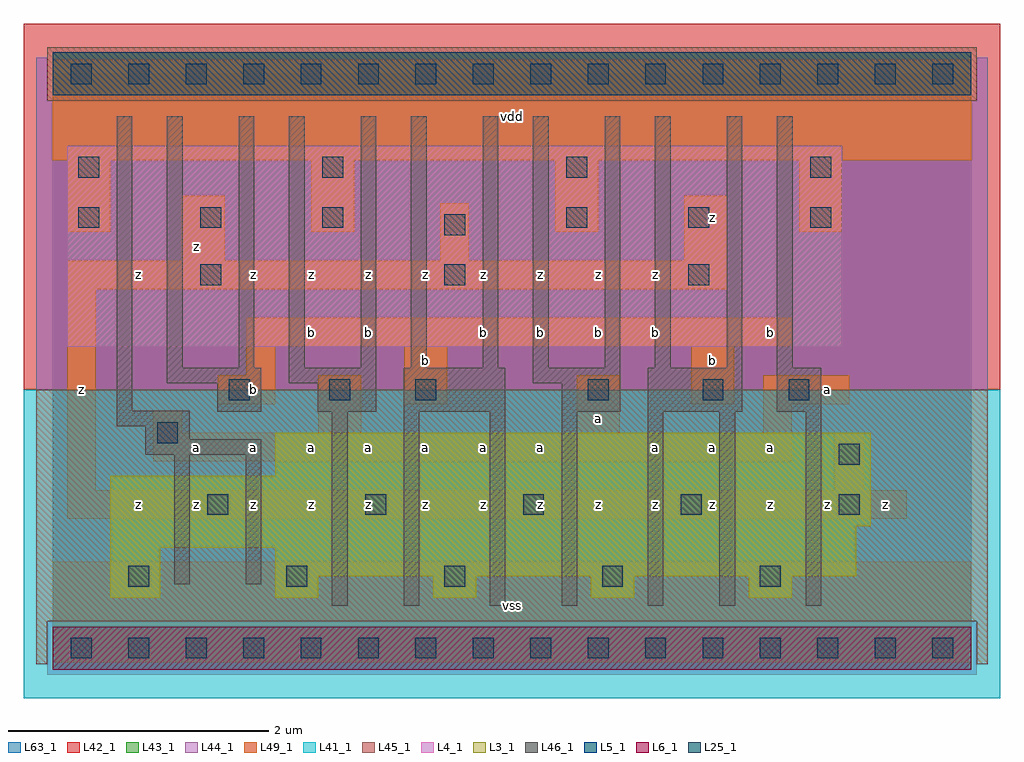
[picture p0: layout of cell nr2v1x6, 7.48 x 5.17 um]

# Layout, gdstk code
import gdstk
lib = gdstk.Library(unit=1e-6, precision=1e-09)
def R(c, l, rs):  # rectangles x0, y0, x1, y1
    for r in rs: c.add(gdstk.rectangle(r[:2], r[2:], *l))
def A(c, l, x, y, w, h, nx, ny, dx, dy):  # array of equal rectangles
    R(c, l, [(x+i*dx, y+j*dy, x+i*dx+w, y+j*dy+h) for i in range(nx) for j in range(ny)])
L3_1 = (3, 1)
L4_1 = (4, 1)
L5_1 = (5, 1)
L6_1 = (6, 1)
L25_1 = (25, 1)
L41_1 = (41, 1)
L42_1 = (42, 1)
L43_1 = (43, 1)
L44_1 = (44, 1)
L45_1 = (45, 1)
L46_1 = (46, 1)
L49_1 = (49, 1)
L63_1 = (63, 1)

nr2v1x6 = lib.new_cell('nr2v1x6')
A(nr2v1x6, L3_1, 1.705, 0.385, 0.33, 0.165, 4, 1, 1.21, 0)
R(nr2v1x6, L3_1, [(0.44,0.385,0.825,0.77), (1.705,0.55,6.16,0.77), (0.44,0.77,6.16,0.935), (0.44,0.935,6.27,1.32), (1.705,1.32,6.27,1.65)])
R(nr2v1x6, L4_1, [(0.11,2.31,6.05,3.85)])
R(nr2v1x6, L5_1, [(0,4.235,7.04,4.565)])
R(nr2v1x6, L6_1, [(0,-0.165,7.04,0.165)])
A(nr2v1x6, L25_1, 0.14, -0.08, 0.16, 0.16, 16, 2, 0.44, 4.4)
A(nr2v1x6, L25_1, 0.58, 0.47, 0.16, 0.16, 5, 1, 1.21, 0)
A(nr2v1x6, L25_1, 1.185, 1.02, 0.16, 0.16, 5, 1, 1.21, 0)
A(nr2v1x6, L25_1, 1.13, 2.78, 0.16, 0.16, 3, 1, 1.87, 0)
A(nr2v1x6, L25_1, 0.195, 3.22, 0.16, 0.16, 3, 1, 0.935, 0)
A(nr2v1x6, L25_1, 3.935, 3.22, 0.16, 0.16, 3, 1, 0.935, 0)
A(nr2v1x6, L25_1, 0.195, 3.605, 0.16, 0.16, 4, 1, 1.87, 0)
R(nr2v1x6, L25_1, [(6.025,1.405,6.185,1.565), (0.8,1.57,0.96,1.73), (1.35,1.9,1.51,2.06), (2.12,1.9,2.28,2.06), (2.78,1.9,2.94,2.06), (4.1,1.9,4.26,2.06), (4.98,1.9,5.14,2.06), (5.64,1.9,5.8,2.06), (3,3.165,3.16,3.325)])
R(nr2v1x6, L41_1, [(-0.22,-0.385,7.26,1.98)])
R(nr2v1x6, L42_1, [(-0.22,1.98,7.26,4.785)])
A(nr2v1x6, L43_1, 1.705, 0.385, 0.33, 0.165, 4, 1, 1.21, 0)
R(nr2v1x6, L43_1, [(0,-0.165,7.04,0.165), (0.44,0.385,0.825,0.77), (1.705,0.55,6.16,0.77), (0.44,0.77,6.16,0.935), (0.44,0.935,6.27,1.32), (1.705,1.32,6.27,1.65), (0.11,2.31,6.05,3.85), (0,4.235,7.04,4.565)])
R(nr2v1x6, L44_1, [(-0.04,-0.205,7.08,0.205), (-0.125,1.98,7.165,4.195), (-0.125,4.195,-0.04,4.525), (7.08,4.195,7.165,4.525)])
R(nr2v1x6, L45_1, [(-0.125,-0.125,-0.04,0.205), (7.08,-0.125,7.165,0.205), (-0.125,0.205,7.165,1.98), (-0.04,4.195,7.08,4.605)])
R(nr2v1x6, L46_1, [(2.14,0.325,2.26,1.81), (2.69,0.325,2.81,1.81), (3.35,0.325,3.47,1.81), (3.9,0.325,4.02,1.81), (4.56,0.325,4.68,1.81), (5.11,0.325,5.23,1.81), (5.77,0.325,5.89,1.81), (0.93,0.49,1.05,1.48), (1.48,0.49,1.6,1.48), (0.71,1.48,1.6,1.6), (0.71,1.6,1.05,1.7), (0.49,1.7,1.05,1.82), (1.26,1.81,1.6,2.03), (2.03,1.81,2.48,2.03), (2.69,1.81,3.47,2.15), (3.9,1.81,4.35,2.03), (4.56,1.81,5.285,2.15), (5.55,1.81,5.89,2.15), (0.49,1.82,0.61,4.075), (0.875,2.03,1.6,2.15), (1.81,2.03,2.48,2.15), (3.68,2.03,4.35,2.15), (0.875,2.15,0.995,4.075), (1.425,2.15,1.545,4.075), (1.81,2.15,1.93,4.075), (2.36,2.15,2.48,4.075), (2.745,2.15,2.865,4.075), (3.295,2.15,3.415,4.075), (3.68,2.15,3.8,4.075), (4.23,2.15,4.35,4.075), (4.615,2.15,4.735,4.075), (5.165,2.15,5.285,4.075), (5.55,2.15,5.67,4.075)])
A(nr2v1x6, L49_1, 0.11, 3.19, 0.33, 0.55, 4, 1, 1.87, 0)
R(nr2v1x6, L49_1, [(0,-0.11,7.04,0.66), (0.11,0.99,6.545,1.21), (0.11,1.21,0.33,2.75), (5.995,1.21,6.215,1.65), (0.77,1.43,5.665,1.65), (0.77,1.65,0.99,1.815), (2.035,1.65,2.365,2.09), (4.015,1.65,4.345,2.09), (5.445,1.65,5.665,1.87), (1.265,1.87,1.705,2.09), (2.695,1.87,3.025,2.31), (4.895,1.87,5.225,2.31), (5.445,1.87,6.105,2.09), (1.485,2.09,1.705,2.31), (1.485,2.31,5.665,2.53), (0.11,2.75,5.17,2.97), (0.99,2.97,1.32,3.465), (2.97,2.97,3.19,3.41), (4.84,2.97,5.17,3.465), (0,3.74,7.04,4.51)])
R(nr2v1x6, L63_1, [(0,0,7.04,4.4)])
nr2v1x6.add(gdstk.Label('z', (0.66,1.1), layer=49, texttype=1))
nr2v1x6.add(gdstk.Label('z', (0.22,1.98), layer=49, texttype=1))
nr2v1x6.add(gdstk.Label('z', (0.66,2.86), layer=49, texttype=1))
nr2v1x6.add(gdstk.Label('z', (1.1,1.1), layer=49, texttype=1))
nr2v1x6.add(gdstk.Label('z', (1.98,1.1), layer=49, texttype=1))
nr2v1x6.add(gdstk.Label('z', (1.54,1.1), layer=49, texttype=1))
nr2v1x6.add(gdstk.Label('a', (1.54,1.54), layer=49, texttype=1))
nr2v1x6.add(gdstk.Label('a', (1.98,1.54), layer=49, texttype=1))
nr2v1x6.add(gdstk.Label('a', (1.1,1.54), layer=49, texttype=1))
nr2v1x6.add(gdstk.Label('b', (1.54,1.98), layer=49, texttype=1))
nr2v1x6.add(gdstk.Label('b', (1.98,2.42), layer=49, texttype=1))
nr2v1x6.add(gdstk.Label('z', (1.54,2.86), layer=49, texttype=1))
nr2v1x6.add(gdstk.Label('z', (1.98,2.86), layer=49, texttype=1))
nr2v1x6.add(gdstk.Label('z', (1.1,3.08), layer=49, texttype=1))
nr2v1x6.add(gdstk.Label('z', (2.42,1.1), layer=49, texttype=1))
nr2v1x6.add(gdstk.Label('z', (3.3,1.1), layer=49, texttype=1))
nr2v1x6.add(gdstk.Label('z', (2.86,1.1), layer=49, texttype=1))
nr2v1x6.add(gdstk.Label('a', (2.86,1.54), layer=49, texttype=1))
nr2v1x6.add(gdstk.Label('a', (3.3,1.54), layer=49, texttype=1))
nr2v1x6.add(gdstk.Label('a', (2.42,1.54), layer=49, texttype=1))
nr2v1x6.add(gdstk.Label('b', (2.86,2.2), layer=49, texttype=1))
nr2v1x6.add(gdstk.Label('b', (3.3,2.42), layer=49, texttype=1))
nr2v1x6.add(gdstk.Label('b', (2.42,2.42), layer=49, texttype=1))
nr2v1x6.add(gdstk.Label('z', (2.42,2.86), layer=49, texttype=1))
nr2v1x6.add(gdstk.Label('z', (2.86,2.86), layer=49, texttype=1))
nr2v1x6.add(gdstk.Label('z', (3.3,2.86), layer=49, texttype=1))
nr2v1x6.add(gdstk.Label('vss', (3.52,0.33), layer=49, texttype=1))
nr2v1x6.add(gdstk.Label('z', (3.74,1.1), layer=49, texttype=1))
nr2v1x6.add(gdstk.Label('z', (4.62,1.1), layer=49, texttype=1))
nr2v1x6.add(gdstk.Label('z', (4.18,1.1), layer=49, texttype=1))
nr2v1x6.add(gdstk.Label('a', (4.62,1.54), layer=49, texttype=1))
nr2v1x6.add(gdstk.Label('a', (3.74,1.54), layer=49, texttype=1))
nr2v1x6.add(gdstk.Label('a', (4.18,1.76), layer=49, texttype=1))
nr2v1x6.add(gdstk.Label('b', (4.18,2.42), layer=49, texttype=1))
nr2v1x6.add(gdstk.Label('b', (4.62,2.42), layer=49, texttype=1))
nr2v1x6.add(gdstk.Label('b', (3.74,2.42), layer=49, texttype=1))
nr2v1x6.add(gdstk.Label('z', (3.74,2.86), layer=49, texttype=1))
nr2v1x6.add(gdstk.Label('z', (4.18,2.86), layer=49, texttype=1))
nr2v1x6.add(gdstk.Label('z', (4.62,2.86), layer=49, texttype=1))
nr2v1x6.add(gdstk.Label('vdd', (3.52,4.07), layer=49, texttype=1))
nr2v1x6.add(gdstk.Label('z', (5.06,1.1), layer=49, texttype=1))
nr2v1x6.add(gdstk.Label('z', (5.5,1.1), layer=49, texttype=1))
nr2v1x6.add(gdstk.Label('a', (5.5,1.54), layer=49, texttype=1))
nr2v1x6.add(gdstk.Label('a', (5.06,1.54), layer=49, texttype=1))
nr2v1x6.add(gdstk.Label('b', (5.5,2.42), layer=49, texttype=1))
nr2v1x6.add(gdstk.Label('b', (5.06,2.2), layer=49, texttype=1))
nr2v1x6.add(gdstk.Label('z', (5.06,3.3), layer=49, texttype=1))
nr2v1x6.add(gdstk.Label('z', (5.94,1.1), layer=49, texttype=1))
nr2v1x6.add(gdstk.Label('z', (6.38,1.1), layer=49, texttype=1))
nr2v1x6.add(gdstk.Label('a', (5.94,1.98), layer=49, texttype=1))

lib.write_gds('nr2v1x6.gds')
